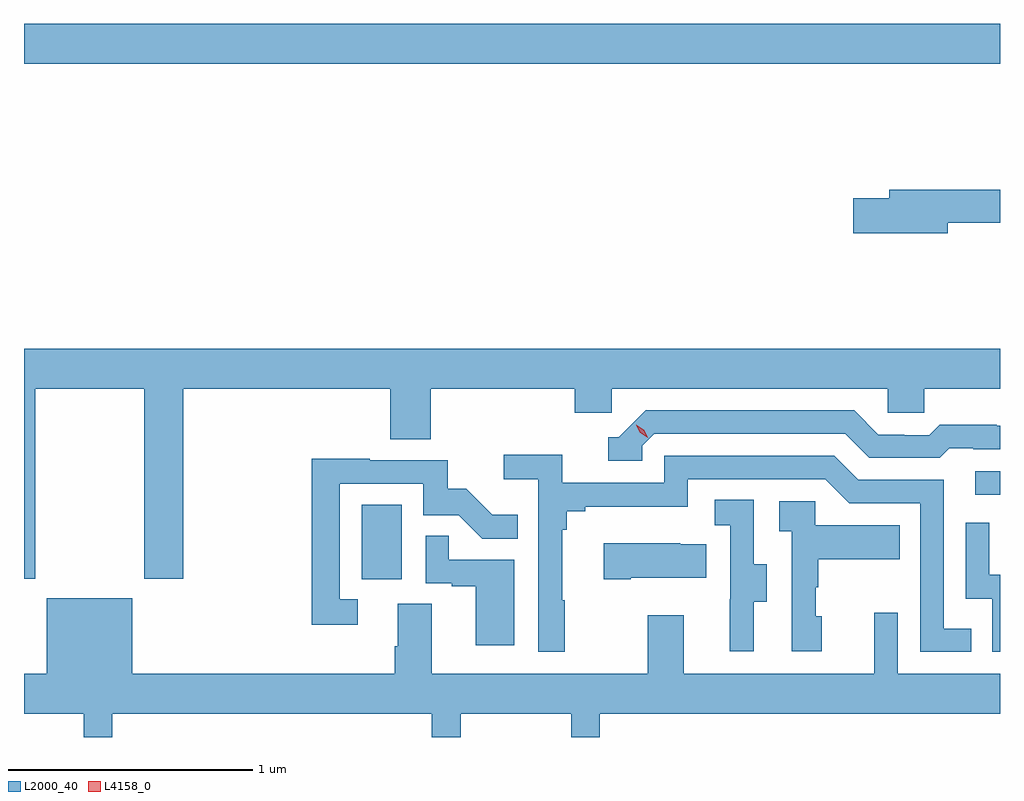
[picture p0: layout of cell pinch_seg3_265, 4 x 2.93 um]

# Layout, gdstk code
import gdstk
lib = gdstk.Library(unit=1e-6, precision=1e-09)
def R(c, l, rs):  # rectangles x0, y0, x1, y1
    for r in rs: c.add(gdstk.rectangle(r[:2], r[2:], *l))
def P(c, l, *ps):  # polygons
    for p in ps: c.add(gdstk.Polygon(p, *l))
L2000_40 = (2000, 40)
L4158_0 = (4158, 0)

pinch_seg3_265 = lib.new_cell('pinch_seg3_265')
R(pinch_seg3_265, L2000_40, [(912.794,726.774,912.958,727.081), (915.309,727.122,915.41,727.218), (911.41,728.888,915.41,729.052)])
P(pinch_seg3_265, L2000_40, [(915.196,728.236),(915.41,728.236),(915.41,728.372),(914.957,728.372),(914.957,728.336),(914.808,728.336),(914.808,728.194),(915.196,728.194)],
  [(911.457,727.556),(911.902,727.556),(911.902,726.777),(912.062,726.777),(912.062,727.556),(912.911,727.556),(912.911,727.348),(913.076,727.348),(913.076,727.556),(913.667,727.556),(913.667,727.458),(913.818,727.458),(913.818,727.556),(914.949,727.556),(914.949,727.458),(915.099,727.458),(915.099,727.556),(915.41,727.556),(915.41,727.72),(911.41,727.72),(911.41,726.777),(911.457,726.777)],
  [(913.944,727.323),(913.992,727.371),(914.775,727.371),(914.874,727.272),(915.163,727.272),(915.202,727.311),(915.301,727.311),(915.301,727.308),(915.41,727.308),(915.41,727.405),(915.396,727.405),(915.396,727.408),(915.163,727.408),(915.121,727.365),(915.018,727.365),(915.018,727.368),(914.911,727.368),(914.812,727.467),(913.959,727.467),(913.848,727.356),(913.805,727.356),(913.805,727.26),(913.944,727.26)],
  [(913.627,726.689),(913.615,726.689),(913.615,726.977),(913.634,726.977),(913.634,727.054),(913.711,727.054),(913.711,727.073),(914.13,727.073),(914.13,727.185),(914.694,727.185),(914.793,727.086),(915.084,727.086),(915.084,726.477),(915.293,726.477),(915.293,726.573),(915.18,726.573),(915.18,727.182),(914.83,727.182),(914.731,727.281),(914.034,727.281),(914.034,727.17),(913.616,727.17),(913.616,727.286),(913.377,727.286),(913.377,727.184),(913.518,727.184),(913.518,726.477),(913.627,726.477)],
  [(912.778,726.693),(912.705,726.693),(912.705,727.167),(913.047,727.167),(913.047,727.038),(913.191,727.038),(913.289,726.94),(913.433,726.94),(913.433,727.039),(913.329,727.039),(913.222,727.146),(913.146,727.146),(913.146,727.263),(912.827,727.263),(912.827,727.268),(912.589,727.268),(912.589,726.588),(912.778,726.588)],
  [(914.401,726.682),(914.455,726.682),(914.455,726.837),(914.4,726.837),(914.4,727.1),(914.241,727.1),(914.241,726.997),(914.304,726.997),(914.304,726.693),(914.303,726.693),(914.303,726.48),(914.401,726.48)],
  [(914.68,726.624),(914.655,726.624),(914.655,726.743),(914.665,726.743),(914.665,726.857),(914.999,726.857),(914.999,726.997),(914.652,726.997),(914.652,727.095),(914.505,727.095),(914.505,726.971),(914.556,726.971),(914.556,726.48),(914.68,726.48)],
  [(915.41,726.794),(915.366,726.794),(915.366,727.006),(915.27,727.006),(915.27,726.696),(915.378,726.696),(915.378,726.477),(915.41,726.477)],
  [(913.42,726.855),(913.151,726.855),(913.151,726.953),(913.056,726.953),(913.056,726.759),(913.163,726.759),(913.163,726.747),(913.262,726.747),(913.262,726.504),(913.42,726.504)],
  [(913.897,726.782),(914.207,726.782),(914.207,726.919),(914.099,726.919),(914.099,726.922),(913.785,726.922),(913.785,726.775),(913.897,726.775)],
  [(913.081,726.127),(913.199,726.127),(913.199,726.224),(913.652,726.224),(913.652,726.127),(913.769,726.127),(913.769,726.224),(915.41,726.224),(915.41,726.388),(914.991,726.388),(914.991,726.637),(914.894,726.637),(914.894,726.388),(914.113,726.388),(914.113,726.628),(913.966,726.628),(913.966,726.388),(913.081,726.388),(913.081,726.674),(912.941,726.674),(912.941,726.5),(912.929,726.5),(912.929,726.388),(911.854,726.388),(911.854,726.697),(911.504,726.697),(911.504,726.388),(911.41,726.388),(911.41,726.224),(911.654,726.224),(911.654,726.127),(911.771,726.127),(911.771,726.224),(913.081,726.224)])
P(pinch_seg3_265, L4158_0, [(913.966,727.355),(913.935,727.375),(913.919,727.407),(913.919,727.408),(913.919,727.408),(913.95,727.388),(913.966,727.356),(913.966,727.355)])

lib.write_gds('pinch_seg3_265.gds')
